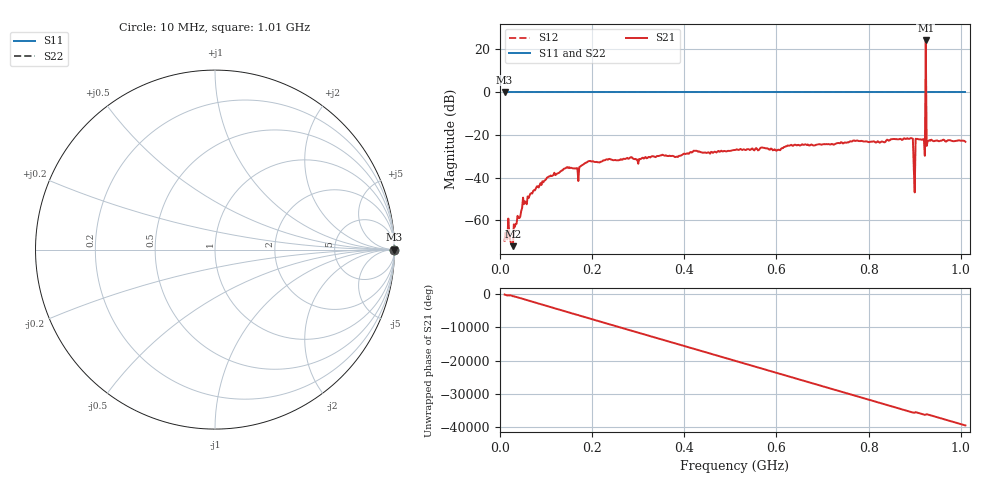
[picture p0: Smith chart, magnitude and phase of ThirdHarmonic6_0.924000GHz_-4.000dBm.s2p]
! 8/16/2025 6:09:21 AM
! C:\ANRITSUVNA\TEMP\TEMP.S2P
! CHANNEL.1
! TR.MEASUREMENT
! RAW.DATA
! RF.CORRECTION.OFF
! AVERAGING.OFF
! IF.BANDWIDTH: 5KHZ
! SWEEPTYPE:  FREQ.SWEEP(Linear)
! Reference Plane Port Info
! PORT:  PORT1  PORT2
! DISTANCE:  0  m  0  m
! TIME:  0  s  0  s
! PHASE.OFFSET:  0  deg.  0  deg.
! LOSS:  0  dB  0  dB
! REF.LOSS:  0  dB  0  dB
! REF.FREQ:  0  Hz  0  Hz
! Power Info
! POWER:  -20  dBm  -20  dBm
! EFF.POWER:  -20  dBm  -20  dBm
! SOURCE.ATTEN:  0  dB  0  dB
! TEST.ATTEN:  0  dB  0  dB
# GHZ S RI R 50.0
! FREQ.GHZ  S11RE  S11IM  S21RE  S21IM  S12RE  S12IM  S22RE  S22IM
!; PortSelection: Port_12
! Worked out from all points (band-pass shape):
!   501 points, 10 MHz to 1.01 GHz, reference 50 ohm
!   highest |S21| = 23.97 dB at 924 MHz (marker M1); lowest = -72.0 dB at 28 MHz (marker M2)
!   |S21| within 3 dB of the highest: 923.8884 MHz to 924.122 MHz (233.6 kHz wide, 0.0253 % of centre)
!   lowest |S11| = 0.0 dB at 10 MHz (marker M3)
!   |S11| at or under -10 dB: nowhere
!   |S22| runs from 0.0 to 0.0 dB; largest |S21 - S12| = 17
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0.01  1 0  -0.00022 -0.000257  1 0  1 0
0.016  1 0  0.000185 -0.000314  1 0  1 0
0.024  1 0  0.000229 -0.000181  1 0  1 0
0.028  1 0  5.79e-05 0.000245  1 0  1 0
0.05  1 0  0.00341 -3.91e-05  1 0  1 0
0.076  1 0  0.00503 0.000651  1 0  1 0
0.142  1 0  -0.015 -0.00689  1 0  1 0
0.178  1 0  -0.0187 -0.00526  1 0  1 0
0.344  1 0  0.0314 -0.00477  1 0  1 0
0.51  1 0  -0.0427 0.0102  1 0  1 0
0.678  1 0  -0.0163 -0.0552  1 0  1 0
0.844  1 0  0.0414 0.0594  1 0  1 0
0.892  1 0  0.00987 -0.0832  1 0  1 0
0.896  1 0  -0.0326 0.0739  1 0  1 0
0.9  1 0  0.00168 0.0042  1 0  1 0
0.906  1 0  0.029 0.0745  1 0  1 0
0.918  1 0  0.0472 -0.0623  1 0  1 0
0.92  1 0  -0.0557 -0.0564  1 0  1 0
0.924  1 0  -13.07 -8.875  1 0  1 0
0.928  1 0  -0.0095 -0.0696  1 0  1 0
0.93  1 0  -0.0722 -0.00572  1 0  1 0
1.01  1 0  -0.0643 -0.0237  1 0  1 0
